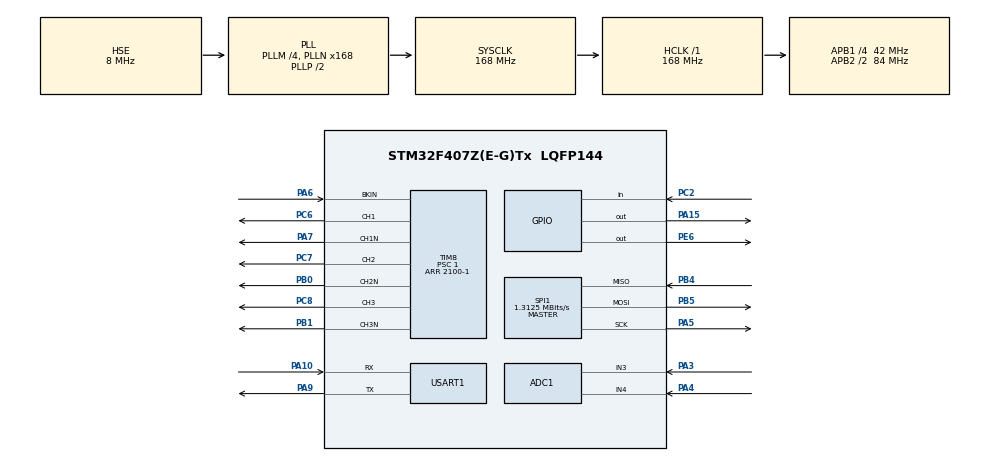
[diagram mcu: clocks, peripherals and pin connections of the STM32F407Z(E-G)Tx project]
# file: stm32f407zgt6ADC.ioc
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ADC1.Channel-0\#ChannelRegularConversion=ADC_CHANNEL_3
ADC1.Channel-1\#ChannelRegularConversion=ADC_CHANNEL_4
ADC1.ContinuousConvMode=ENABLE
ADC1.DMAContinuousRequests=ENABLE
ADC1.EOCSelection=ADC_EOC_SEQ_CONV
ADC1.NbrOfConversion=2
ADC1.NbrOfConversionFlag=1
ADC1.Rank-0\#ChannelRegularConversion=1
ADC1.Rank-1\#ChannelRegularConversion=2
ADC1.SamplingTime-0\#ChannelRegularConversion=ADC_SAMPLETIME_480CYCLES
ADC1.SamplingTime-1\#ChannelRegularConversion=ADC_SAMPLETIME_480CYCLES
ADC1.ScanConvMode=ENABLE
ADC1.master=1
Dma.ADC1.0.Direction=DMA_PERIPH_TO_MEMORY
Dma.ADC1.0.FIFOMode=DMA_FIFOMODE_DISABLE
Dma.ADC1.0.Instance=DMA2_Stream0
Dma.ADC1.0.MemDataAlignment=DMA_MDATAALIGN_HALFWORD
Dma.ADC1.0.MemInc=DMA_MINC_ENABLE
Dma.ADC1.0.Mode=DMA_CIRCULAR
Dma.ADC1.0.PeriphDataAlignment=DMA_PDATAALIGN_HALFWORD
Dma.ADC1.0.PeriphInc=DMA_PINC_DISABLE
Dma.ADC1.0.Priority=DMA_PRIORITY_LOW
Dma.Request0=ADC1
Mcu.Family=STM32F4
Mcu.Name=STM32F407Z(E-G)Tx
Mcu.Package=LQFP144
NVIC.DMA2_Stream0_IRQn=true\:0\:0\:false\:false\:true\:false\:true
NVIC.PriorityGroup=NVIC_PRIORITYGROUP_4
NVIC.USART1_IRQn=true\:0\:0\:false\:false\:true\:true\:true
PA10.Mode=Asynchronous
PA10.Signal=USART1_RX
PA13.Mode=Serial_Wire
PA13.Signal=SYS_JTMS-SWDIO
PA14.Mode=Serial_Wire
PA14.Signal=SYS_JTCK-SWCLK
PA15.GPIO_ModeDefaultOutputPP=GPIO_MODE_OUTPUT_PP
PA15.GPIO_PuPd=GPIO_NOPULL
PA15.GPIO_Speed=GPIO_SPEED_FREQ_LOW
PA15.PinState=GPIO_PIN_RESET
PA15.Signal=GPIO_Output
PA3.Signal=ADCx_IN3
PA4.Signal=ADCx_IN4
PA5.Mode=Full_Duplex_Master
PA5.Signal=SPI1_SCK
PA6.Mode=Activate-Break-Input
PA6.Signal=TIM8_BKIN
PA7.GPIO_ModeDefaultPP=GPIO_MODE_AF_PP
PA7.GPIO_PuPd=GPIO_NOPULL
PA7.GPIO_Speed=GPIO_SPEED_FREQ_LOW
PA7.Mode=PWM Generation1 CH1 CH1N
PA7.Signal=TIM8_CH1N
PA9.Mode=Asynchronous
PA9.Signal=USART1_TX
PB0.GPIO_ModeDefaultPP=GPIO_MODE_AF_PP
PB0.GPIO_PuPd=GPIO_NOPULL
PB0.GPIO_Speed=GPIO_SPEED_FREQ_LOW
PB0.Mode=PWM Generation2 CH2 CH2N
PB0.Signal=TIM8_CH2N
PB1.GPIO_ModeDefaultPP=GPIO_MODE_AF_PP
PB1.GPIO_PuPd=GPIO_NOPULL
PB1.GPIO_Speed=GPIO_SPEED_FREQ_LOW
PB1.Mode=PWM Generation3 CH3 CH3N
PB1.Signal=TIM8_CH3N
PB4.Mode=Full_Duplex_Master
PB4.Signal=SPI1_MISO
PB5.Mode=Full_Duplex_Master
PB5.Signal=SPI1_MOSI
PC2.Signal=GPIO_Input
PC6.GPIO_ModeDefaultPP=GPIO_MODE_AF_PP
PC6.GPIO_PuPd=GPIO_NOPULL
PC6.GPIO_Speed=GPIO_SPEED_FREQ_LOW
PC6.Signal=S_TIM8_CH1
PC7.GPIO_ModeDefaultPP=GPIO_MODE_AF_PP
PC7.GPIO_PuPd=GPIO_NOPULL
PC7.GPIO_Speed=GPIO_SPEED_FREQ_LOW
PC7.Signal=S_TIM8_CH2
PC8.GPIO_ModeDefaultPP=GPIO_MODE_AF_PP
PC8.GPIO_PuPd=GPIO_NOPULL
PC8.GPIO_Speed=GPIO_SPEED_FREQ_LOW
PC8.Signal=S_TIM8_CH3
PE6.Signal=GPIO_Output
PH0-OSC_IN.Mode=HSE-External-Oscillator
PH0-OSC_IN.Signal=RCC_OSC_IN
PH1-OSC_OUT.Mode=HSE-External-Oscillator
PH1-OSC_OUT.Signal=RCC_OSC_OUT
ProjectManager.HeapSize=0x200
ProjectManager.StackSize=0x400
ProjectManager.TargetToolchain=MDK-ARM V5
RCC.48MHZClocksFreq_Value=84000000
RCC.AHBFreq_Value=168000000
RCC.APB1CLKDivider=RCC_HCLK_DIV4
RCC.APB1Freq_Value=42000000
RCC.APB1TimFreq_Value=84000000
RCC.APB2CLKDivider=RCC_HCLK_DIV2
RCC.APB2Freq_Value=84000000
RCC.APB2TimFreq_Value=168000000
RCC.CortexFreq_Value=168000000
RCC.HCLKFreq_Value=168000000
RCC.HSE_VALUE=8000000
RCC.HSI_VALUE=16000000
RCC.LSE_VALUE=32768
RCC.PLLM=4
RCC.PLLN=168
RCC.PLLSourceVirtual=RCC_PLLSOURCE_HSE
RCC.SYSCLKFreq_VALUE=168000000
RCC.SYSCLKSource=RCC_SYSCLKSOURCE_PLLCLK
RCC.VCOOutputFreq_Value=336000000
SH.ADCx_IN3.0=ADC1_IN3,IN3
SH.ADCx_IN4.0=ADC1_IN4,IN4
SH.S_TIM8_CH1.0=TIM8_CH1,PWM Generation1 CH1 CH1N
SH.S_TIM8_CH2.0=TIM8_CH2,PWM Generation2 CH2 CH2N
SH.S_TIM8_CH3.0=TIM8_CH3,PWM Generation3 CH3 CH3N
SPI1.BaudRatePrescaler=SPI_BAUDRATEPRESCALER_64
SPI1.CLKPhase=SPI_PHASE_2EDGE
SPI1.CalculateBaudRate=1.3125 MBits/s
SPI1.DataSize=SPI_DATASIZE_16BIT
SPI1.Direction=SPI_DIRECTION_2LINES
SPI1.Mode=SPI_MODE_MASTER
SPI1.VirtualType=VM_MASTER
TIM2.Period=65536-1
TIM2.Prescaler=4-1
TIM3.Period=65536-1
TIM3.Prescaler=4000-1
TIM4.AutoReloadPreload=TIM_AUTORELOAD_PRELOAD_ENABLE
TIM4.CounterMode=TIM_COUNTERMODE_DOWN
TIM4.Period=65536-1
TIM4.Prescaler=84-1
TIM8.AutoReloadPreload=TIM_AUTORELOAD_PRELOAD_ENABLE
TIM8.AutomaticOutput=TIM_AUTOMATICOUTPUT_ENABLE
TIM8.Channel-PWM\ Generation1\ CH1\ CH1N=TIM_CHANNEL_1
TIM8.Channel-PWM\ Generation2\ CH2\ CH2N=TIM_CHANNEL_2
TIM8.Channel-PWM\ Generation3\ CH3\ CH3N=TIM_CHANNEL_3
TIM8.CounterMode=TIM_COUNTERMODE_CENTERALIGNED1
TIM8.DeadTime=11
TIM8.OCNPolarity_1=TIM_OCNPOLARITY_HIGH
TIM8.OCNPolarity_2=TIM_OCNPOLARITY_HIGH
TIM8.OCNPolarity_3=TIM_OCNPOLARITY_HIGH
TIM8.OCPolarity_1=TIM_OCPOLARITY_HIGH
TIM8.OCPolarity_2=TIM_OCPOLARITY_HIGH
TIM8.OCPolarity_3=TIM_OCPOLARITY_HIGH
TIM8.OffStateIDLEMode=TIM_OSSI_ENABLE
TIM8.OffStateRunMode=TIM_OSSR_ENABLE
TIM8.Period=2100-1
TIM8.Prescaler=1
TIM8.TIM_MasterSlaveMode=TIM_MASTERSLAVEMODE_ENABLE
USART1.VirtualMode=VM_ASYNC
VP_TIM2_VS_ClockSourceINT.Mode=Internal
VP_TIM3_VS_ClockSourceINT.Mode=Internal
VP_TIM4_VS_ClockSourceINT.Mode=Internal
VP_TIM8_VS_ClockSourceINT.Mode=Internal
board=custom

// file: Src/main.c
/* USER CODE BEGIN Header */
/**
  ******************************************************************************
  * @file           : main.c
  * @brief          : Main program body
  ******************************************************************************
  * @attention
  *
  * <h2><center>&copy; Copyright (c) 2022 STMicroelectronics.
  * All rights reserved.</center></h2>
  *
  * This software component is licensed by ST under BSD 3-Clause license,
  * the "License"; You may not use this file except in compliance with the
  * License. You may obtain a copy of the License at:
  *                        opensource.org/licenses/BSD-3-Clause
  *
  ******************************************************************************
  */
/* USER CODE END Header */

#include "main.h"
#include "adc.h"
#include "dma.h"
#include "spi.h"
#include "tim.h"
#include "usart.h"
#include "gpio.h"

/* USER CODE BEGIN PTD */
extern int16_t adc_buff[ADC_NUM_MAX];    // ADC电压采集缓冲区
//extern float adc_buff[ADC_NUM_MAX];    // ADC电压采集缓冲区
/* USER CODE END PTD */

/* USER CODE BEGIN PD */
extern float adc_u;
extern float adc_v;
uint16_t IU,IV;

//extern __IO uint16_t ChannelPulse;
__IO uint16_t ChannelPulse = 2100-1;//100%占空比

float targetId;
float targetIq;
float velocity_target;	//待设定目标速度
float position_target;	//待设定目标位置

int  pole_pairs	= 7;//电机极对数

long sensor_direction;
float voltage_power_supply;
float voltage_limit;
float voltage_sensor_align;

float velocity_limit;
float current_limit;

uint32_t upposition;
uint32_t upvelocity;
uint32_t upcurrentq;
uint32_t upcurrentd;

float now_angle;
float now_velocity;
float now_position;
float Iq_target;

extern float a,b,c;
PhaseCurrent_s current_test;

float ctt,stt,d_t,q_t;
float i_alpha_t, i_beta_t;

extern float sensor_offset;
extern float Electrical_Angele_Sensor_Offset;

float firstAngle;
float SecondAngle;
/* USER CODE END PD */

void SystemClock_Config(void);

int main(void)
{
  /* USER CODE BEGIN 1 */
//	voltage_limit = 6;          //V，最大值需小于 供电电压/sqrt(3) 12/1.732=6.9 24/sqrt(3)=13.8568
	voltage_limit = 12;          //V，最大值需小于 供电电压/sqrt(3) 12/1.732=6.9 24/sqrt(3)=13.8568
	voltage_power_supply = 12; 	//电源电压
	voltage_sensor_align = 2;   //V alignSensor() use it，大功率电机设置的值小一点比如0.5-1，小电机设置的大一点比如2-3
	current_limit = 30; 				//电流限制，速度模式和位置模式起作用
	velocity_limit= 20;         	//位置模式速度限制
	velocity_target = 3;        //待设定目标速度 3 rad/s
	position_target = 3;
	Iq_target = 0;
	targetId = 0;
  /* USER CODE END 1 */

  /* MCU Configuration--------------------------------------------------------*/

  /* Reset of all peripherals, Initializes the Flash interface and the Systick. */
  HAL_Init();

  /* Configure the system clock */
  SystemClock_Config();

  /* Initialize all configured peripherals */
  MX_GPIO_Init();
  MX_DMA_Init();
  MX_ADC1_Init();
  MX_TIM8_Init();
  MX_TIM2_Init();
  MX_TIM3_Init();
  MX_TIM4_Init();
  MX_USART1_UART_Init();
  MX_SPI1_Init();
  /* USER CODE BEGIN 2 */
	protocol_init();

	__HAL_TIM_SetCounter(&htim4, 0);
  __HAL_TIM_ENABLE(&htim4);

	IIC_Init();
	my_delay_ms(1000);

	HAL_ADC_Start(&hadc1);
	//HAL_ADC_Start_DMA(&hadc3,(uint32_t *)&ADC_ConvertedValue,3);
	HAL_ADC_Start_DMA(&hadc1,(uint32_t*)&adc_buff,ADC_NUM_MAX);//ADC采样点数

	LPF_init();
	PID_init();

	InlineCurrentSense(0.01,50);    //SimpleMotor//采样电阻阻值，运放倍数

	Motor_init();
	my_delay_ms(1000);
	Motor_initFOC(0,UNKNOWN);
	my_delay_ms(1000);
	Current_calibrateOffsets();//电流偏置测量(空载情况下的电流)
	my_delay_ms(1000);
	/*****************************************************************/
	//Uq90度
//	//setPhaseVoltage(voltage_sensor_align, 0, _3PI_2);
//
//	setPhaseVoltage(voltage_sensor_align, 0, _PI_2);
//
//	firstAngle = shaftAngle();//理论上应该是90度
//
////	setPhaseVoltage(0, voltage_sensor_align, 0);
////	my_delay_ms(500);
//	sensor_offset = shaftAngle();// shaft angle
//	sensor_offset = sensor_offset - _PI_2/7;

	/*****************************************************************/

//	setPhaseVoltage(0, 0, 0);
#if 0
	CALIBRATION_start();

	CALIBRATION_loop();
	my_delay_ms(1000);
#endif

#if 1
	set_computer_value(SEND_STOP_CMD, CURVES_CH1, NULL, 0);                // 同步上位机的启动按钮状态
	set_computer_value(SEND_STOP_CMD, CURVES_CH2, NULL, 0);                // 同步上位机的启动按钮状态
	set_computer_value(SEND_STOP_CMD, CURVES_CH3, NULL, 0);                // 同步上位机的启动按钮状态
	set_computer_value(SEND_STOP_CMD, CURVES_CH4, NULL, 0);                // 同步上位机的启动按钮状态

//	set_computer_value(SEND_TARGET_CMD, CURVES_CH1, &upcurrentq, 1);     // 给通道 3发送目标值
//	set_computer_value(SEND_TARGET_CMD, CURVES_CH2, &upcurrentd, 1);     // 给通道 3发送目标值
//	set_computer_value(SEND_TARGET_CMD, CURVES_CH3, &velocity_target, 1);     // 给通道 3发送目标值
//	set_computer_value(SEND_TARGET_CMD, CURVES_CH4, &position_target, 1);     // 给通道 3发送目标值

	set_computer_value(SEND_START_CMD, CURVES_CH1, NULL, 0);               // 同步上位机的启动按钮状态
	set_computer_value(SEND_START_CMD, CURVES_CH2, NULL, 0);               // 同步上位机的启动按钮状态
	set_computer_value(SEND_START_CMD, CURVES_CH3, NULL, 0);               // 同步上位机的启动按钮状态
	set_computer_value(SEND_START_CMD, CURVES_CH4, NULL, 0);               // 同步上位机的启动按钮状态
#endif
//	setPhaseVoltage(voltage_sensor_align,0,_PI_2);

//	setPhaseVoltage(0,voltage_sensor_align,0);

  /* USER CODE END 2 */

  /* Infinite loop */
  /* USER CODE BEGIN WHILE */

  while (1)
  {
		#if 0
			receiving_process();
		#endif

		#if 0
//		shaft_angle = shaftAngle();// shaft angle

		electrical_angle = electricalAngle();// electrical angle - need shaftAngle to be called first
		shaft_angle = shaftAngle();// shaft angle
		now_velocity = getVelocity();
		#endif
//		printf("%f\r\n",PIDoperator(&PID_velocity,(10 - 5)));

		#if 0
		//Ud基准
		setPhaseVoltage(0,voltage_sensor_align,(_2PI * 0.f/ 12.0f));

		current_test = getPhaseCurrents();

		shaft_angle = shaftAngle();// shaft angle
		electrical_angle = electricalAngle();// electrical angle - need shaftAngle to be called first

		i_alpha_t = current_test.a;
		i_beta_t = _1_SQRT3 * current_test.a + _2_SQRT3 * current_test.b;//a + b + c = 0

//		ctt = arm_cos_f32(_2PI * 0.f/ 12.0f);
//		stt = arm_sin_f32(_2PI * 0.f/ 12.0f);

		ctt = arm_cos_f32(electrical_angle);
		stt = arm_sin_f32(electrical_angle);

		//simplefoc的park变换
		d_t = i_alpha_t * ctt + i_beta_t * stt;
		q_t = i_beta_t * ctt - i_alpha_t * stt;

		#endif
//		printf( "angle : %.04f\r\n", ReadAngle() );

//		HAL_Delay(1000);

		//电机对相
		#if 0
		//a
		__HAL_TIM_SetCompare(&htim8,TIM_CHANNEL_1,0.1*ChannelPulse);
		__HAL_TIM_SetCompare(&htim8,TIM_CHANNEL_2,0);
		__HAL_TIM_SetCompare(&htim8,TIM_CHANNEL_3,0);
		//b
//		__HAL_TIM_SetCompare(&htim8,TIM_CHANNEL_1,0);
//		__HAL_TIM_SetCompare(&htim8,TIM_CHANNEL_2,0.1*ChannelPulse);
//		__HAL_TIM_SetCompare(&htim8,TIM_CHANNEL_3,0);
		//c
//		__HAL_TIM_SetCompare(&htim8,TIM_CHANNEL_1,0);
//		__HAL_TIM_SetCompare(&htim8,TIM_CHANNEL_2,0);
//		__HAL_TIM_SetCompare(&htim8,TIM_CHANNEL_3,0.1*ChannelPulse);

		current_test = getPhaseCurrents();
		#endif

//		setPhaseVoltage(0, 1, _2PI * 1.0f/ 12.0f);
//		setPhaseVoltage(0, 1, _2PI * 3.0f/ 12.0f);
//		setPhaseVoltage(0, 1, _2PI * 5.0f/ 12.0f);
//		setPhaseVoltage(0, 1, _2PI * 7.0f/ 12.0f);
//		setPhaseVoltage(0, 1, _2PI * 9.0f/ 12.0f);
//		setPhaseVoltage(0, 1, _2PI * 11.0f/ 12.0f);

//		shaft_angle = shaftAngle();// shaft angle
//		electrical_angle = electricalAngle();// electrical angle - need shaftAngle to be called first
//		current = getFOCCurrents(electrical_angle);

//		move(Iq_target);
//Id
#if 0
		shaft_angle = shaftAngle();// shaft angle
		electrical_angle = electricalAngle();// electrical angle - need shaftAngle to be called first

		// read dq currents
		current = getFOCCurrents(electrical_angle);
		// filter values
//		current.q = LPFoperator(&LPF_current_q,current.q);
		current.d = LPFoperator(&LPF_current_d,current.d);

		voltage.d = PIDoperator(&PID_current_d, (targetId - current.d));
		setPhaseVoltage(0, voltage.d, electrical_angle);
#endif

//Iq
#if 0
//		shaft_angle = shaftAngle();// shaft angle
		electrical_angle = electricalAngle();// electrical angle - need shaftAngle to be called first

		// read dq currents
		current = getFOCCurrents(electrical_angle);
		// filter values
		current.q = LPFoperator(&LPF_current_q,current.q);
//		current.d = LPFoperator(&LPF_current_d,current.d);

//		voltage.d = PIDoperator(&PID_current_d, (targetId - current.d));
		voltage.q = PIDoperator(&PID_current_q, (targetIq - current.q));
		setPhaseVoltage(voltage.q , 0, electrical_angle);
#endif
//clark park 变换验证

#if 0
//	DQCurrent_s getFOCCurrents(float angle_el);

	float angle_t = _PI/6;
	float ctt,stt,d_t,q_t;
	float i_alpha_t, i_beta_t;
	float Ia_t = 0.5;
	float	Ib_t = -0.3;

	i_alpha_t = Ia_t;
	i_beta_t = _1_SQRT3 * Ia_t + _2_SQRT3 * Ib_t;//a + b + c = 0

	ctt = arm_cos_f32(angle_t);
	stt = arm_sin_f32(angle_t);

	//simplefoc的park变换
	d_t = i_alpha_t * ctt + i_beta_t * stt;
	q_t = i_beta_t * ctt - i_alpha_t * stt;

	printf("d_t:%f\r\n",d_t);
	printf("q_t:%f\r\n",q_t);
#endif

//电流模式
#if 0
		move(0);
		loopFOCtest();
		now_velocity = shaftVelocity();//测速
		now_position = getAngle();
#endif
//速度模式
#if 1
		now_velocity = move_velocity(velocity_target);
		loopFOCtest();

//		upposition = getAngle();

//		upvelocity = now_velocity * 1000;
//		upcurrentq = current.q * 1000 + 1000;//扩大1000，偏置1000
//		upcurrentd = current.d * 1000 + 1000;//扩大1000,偏置1000

//		set_computer_value(SEND_FACT_CMD, CURVES_CH1, &upcurrentq, 1);     // 给通道1发Iq
//		set_computer_value(SEND_FACT_CMD, CURVES_CH2, &upcurrentd, 1);     // 给通道2发Id
//		set_computer_value(SEND_FACT_CMD, CURVES_CH3, &upvelocity, 1);     // 给通道3发送速度值
////		set_computer_value(SEND_FACT_CMD, CURVES_CH4, &upposition, 1);     // 给通道4发送位置值
#endif

//位置环模式
#if 0
		now_position = move_position(position_target);
		loopFOCtest();//电流环PID

		now_velocity = shaftVelocity();

//		upvelocity = now_velocity * 1000;//扩大1000
//		upcurrentq = current.q * 1000 + 1000;//扩大1000，偏置1000
//		upcurrentd = current.d * 1000 + 1000;//扩大1000,偏置1000
#endif

//		now_velocity= move_velocity(velocity_target);
//		loopFOCtest();

//	float A,B;
//	float d =_2PI/2048;

#if 0
//马鞍波测试
	for(uint32_t i = 0; i<5000;i++){
		shaft_angle = shaftAngle();// shaft angle
		electrical_angle = electricalAngle();// electrical angle - need shaftAngle to be called first
		setPhaseVoltage(3*arm_sin_f32(((float)i/5000.0f) * _2PI),3*arm_cos_f32(((float)i/5000.0f) * _2PI),electrical_angle);

//		my_delay_ms(10);

		set_computer_value(SEND_FACT_CMD, CURVES_CH1, &a, 1);
		set_computer_value(SEND_FACT_CMD, CURVES_CH2, &b, 1);
		set_computer_value(SEND_FACT_CMD, CURVES_CH3, &c, 1);

	}
#endif

//发送通道值
#if 0
		upposition = now_position * 1000;//扩大1000
		upvelocity = now_velocity * 1000;//扩大1000
		upcurrentq = current.q * 1000 + 1000;//扩大1000，偏置1000
		upcurrentd = current.d * 1000 + 1000;//扩大1000,偏置1000
		set_computer_value(SEND_FACT_CMD, CURVES_CH1, &upcurrentq, 1);     // 给通道1发Iq
		set_computer_value(SEND_FACT_CMD, CURVES_CH2, &upcurrentd, 1);     // 给通道2发Id
		set_computer_value(SEND_FACT_CMD, CURVES_CH3, &upvelocity, 1);     // 给通道3发送速度值
		set_computer_value(SEND_FACT_CMD, CURVES_CH4, &upposition, 1);     // 给通道4发送位置值
#endif

    /* USER CODE END WHILE */

    /* USER CODE BEGIN 3 */
//		my_delay_ms(100);
  }
  /* USER CODE END 3 */
}

void SystemClock_Config(void)
{
  RCC_OscInitTypeDef RCC_OscInitStruct = {0};
  RCC_ClkInitTypeDef RCC_ClkInitStruct = {0};

  /** Configure the main internal regulator output voltage
  */
  __HAL_RCC_PWR_CLK_ENABLE();
  __HAL_PWR_VOLTAGESCALING_CONFIG(PWR_REGULATOR_VOLTAGE_SCALE1);
  /** Initializes the CPU, AHB and APB busses clocks
  */
  RCC_OscInitStruct.OscillatorType = RCC_OSCILLATORTYPE_HSE;
  RCC_OscInitStruct.HSEState = RCC_HSE_ON;
  RCC_OscInitStruct.PLL.PLLState = RCC_PLL_ON;
  RCC_OscInitStruct.PLL.PLLSource = RCC_PLLSOURCE_HSE;
  RCC_OscInitStruct.PLL.PLLM = 4;
  RCC_OscInitStruct.PLL.PLLN = 168;
  RCC_OscInitStruct.PLL.PLLP = RCC_PLLP_DIV2;
  RCC_OscInitStruct.PLL.PLLQ = 4;
  if (HAL_RCC_OscConfig(&RCC_OscInitStruct) != HAL_OK)
  {
    Error_Handler();
  }
  /** Initializes the CPU, AHB and APB busses clocks
  */
  RCC_ClkInitStruct.ClockType = RCC_CLOCKTYPE_HCLK|RCC_CLOCKTYPE_SYSCLK
                              |RCC_CLOCKTYPE_PCLK1|RCC_CLOCKTYPE_PCLK2;
  RCC_ClkInitStruct.SYSCLKSource = RCC_SYSCLKSOURCE_PLLCLK;
  RCC_ClkInitStruct.AHBCLKDivider = RCC_SYSCLK_DIV1;
  RCC_ClkInitStruct.APB1CLKDivider = RCC_HCLK_DIV4;
  RCC_ClkInitStruct.APB2CLKDivider = RCC_HCLK_DIV2;

  if (HAL_RCC_ClockConfig(&RCC_ClkInitStruct, FLASH_LATENCY_5) != HAL_OK)
  {
    Error_Handler();
  }
}

void Error_Handler(void)
{
}

/************************ (C) COPYRIGHT STMicroelectronics *****END OF FILE****/
